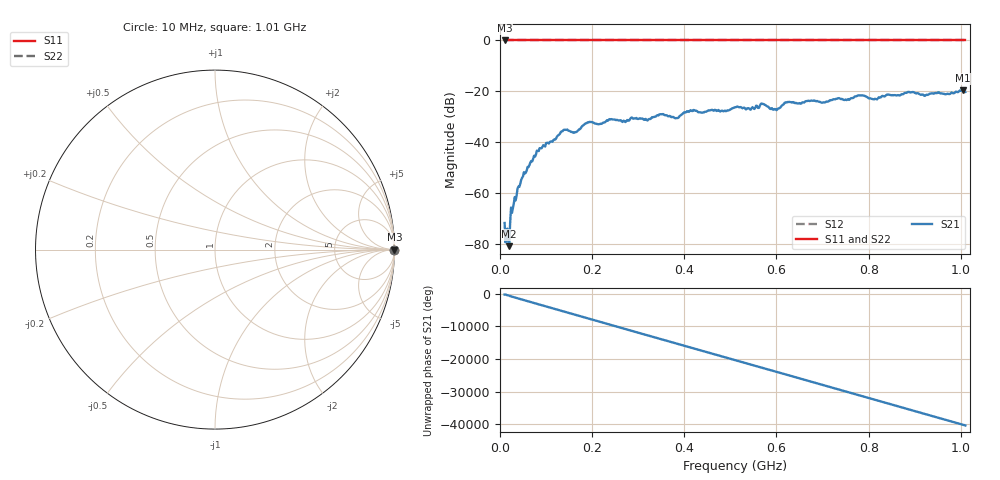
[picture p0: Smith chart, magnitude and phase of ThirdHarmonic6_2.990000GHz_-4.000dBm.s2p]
! 8/17/2025 8:31:04 AM
! C:\ANRITSUVNA\TEMP\TEMP.S2P
! CHANNEL.1
! TR.MEASUREMENT
! RAW.DATA
! RF.CORRECTION.OFF
! AVERAGING.OFF
! IF.BANDWIDTH: 5KHZ
! SWEEPTYPE:  FREQ.SWEEP(Linear)
! Reference Plane Port Info
! PORT:  PORT1  PORT2
! DISTANCE:  0  m  0  m
! TIME:  0  s  0  s
! PHASE.OFFSET:  0  deg.  0  deg.
! LOSS:  0  dB  0  dB
! REF.LOSS:  0  dB  0  dB
! REF.FREQ:  0  Hz  0  Hz
! Power Info
! POWER:  -20  dBm  -20  dBm
! EFF.POWER:  -20  dBm  -20  dBm
! SOURCE.ATTEN:  0  dB  0  dB
! TEST.ATTEN:  0  dB  0  dB
# GHZ S RI R 50.0
! FREQ.GHZ  S11RE  S11IM  S21RE  S21IM  S12RE  S12IM  S22RE  S22IM
!; PortSelection: Port_12
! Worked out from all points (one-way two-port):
!   501 points, 10 MHz to 1.01 GHz, reference 50 ohm
!   highest |S21| = -19.60 dB at 1.004 GHz (marker M1); lowest = -80.8 dB at 20 MHz (marker M2)
!   lowest |S11| = 0.0 dB at 10 MHz (marker M3)
!   |S11| at or under -10 dB: nowhere
!   |S22| runs from 0.0 to 0.0 dB; largest |S21 - S12| = 1.1
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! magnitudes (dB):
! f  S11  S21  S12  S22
! 10 MHz  0.0  -71.7  0.0  0.0
! 16 MHz  0.0  -74.0  0.0  0.0
! 20 MHz  0.0  -80.8  0.0  0.0
! 28 MHz  0.0  -66.0  0.0  0.0
! 42 MHz  0.0  -57.6  0.0  0.0
! 82 MHz  0.0  -43.4  0.0  0.0
! 136 MHz  0.0  -35.6  0.0  0.0
! 162 MHz  0.0  -36.1  0.0  0.0
! 178 MHz  0.0  -33.8  0.0  0.0
! 194 MHz  0.0  -32.0  0.0  0.0
! 322 MHz  0.0  -31.0  0.0  0.0
! 344 MHz  0.0  -29.4  0.0  0.0
! 384 MHz  0.0  -30.5  0.0  0.0
! 410 MHz  0.0  -28.1  0.0  0.0
! 510 MHz  0.0  -26.2  0.0  0.0
! 570 MHz  0.0  -24.9  0.0  0.0
! 598 MHz  0.0  -27.0  0.0  0.0
! 622 MHz  0.0  -24.3  0.0  0.0
! 678 MHz  0.0  -23.7  0.0  0.0
! 844 MHz  0.0  -21.3  0.0  0.0
! 1.004 GHz  0.0  -19.6  0.0  0.0
! 1.01 GHz  0.0  -20.2  0.0  0.0
